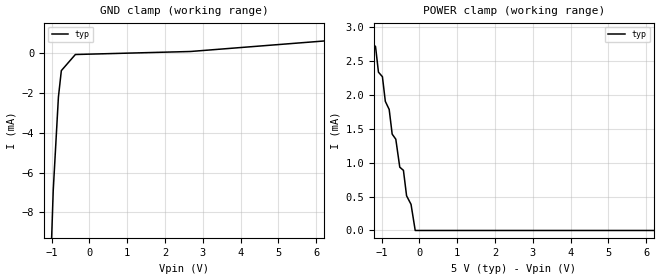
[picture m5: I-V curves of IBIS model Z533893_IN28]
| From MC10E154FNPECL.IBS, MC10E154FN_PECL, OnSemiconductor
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| (C) COPYRIGHT 1993-2000
| MENTOR GRAPHICS CORPORATION
| ICX STANDARD LIBRARY, ICX PROJECT MODELING,
| ICX CUSTOM MODELING, ICX VENDOR MODEL
| ALL RIGHTS RESERVED.
| THE FOLLOWING ARE TRADEMARKS OR SERVICE MARKS OF
| MENTOR GRAPHICS CORPORATION:ICX (R), ICX STANDARD
| LIBRARY(R), ICX PROJECT MODELING(R), ICX CUSTOM
| MODELING(R), qualityIBIS(TM), MODELVIEWER(TM),
| AND MODELEDITOR(TM)
| ALL COPIES OF SOFTWARE, INCLUDING BUT NOT LIMITED TO
| ANY MODIFICATIONS, ENHANCEMENTS OR DERIVATIVE WORKS,
| MUST CONTAIN ALL MENTOR GRAPHICS CORPORATION'S
| NOTICES AND LEGENDS, INCLUDING THOSE EMBEDDED IN
| SOFTWARE AND THOSE AFFIXED TO SOFTWARE MEDIUM
| AND CONTAINER, AS RECEIVED FROM MENTOR GRAPHICS
| CORPORATION.
| Model Application Version 1.89 2/18/99.
[Model] Z533893_IN28
Model_type Input_ECL
Vinl = 3.520V
Vinh = 3.870V
C_comp 4.000pF NA NA
| variable typ   min   max
[Voltage Range] 5.000V NA NA
[GND Clamp Reference] 0.000V NA NA
[POWER Clamp Reference] 5.000V NA NA
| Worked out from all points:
|   GND clamp passes 1 mA (typ) near -0.75 V on its own axis
|   POWER clamp passes 1 mA (typ) near -0.54 V on its own axis
[GND Clamp]
-5V       -303.7mA   NA         NA
-1.049V   -12.12mA   NA         NA
-956.2mV  -6.889mA   NA         NA
-819.4mV  -2.201mA   NA         NA
-742.1mV  -869.7uA   NA         NA
-371.1mV  -59.38uA   NA         NA
2.673V    92.72uA    NA         NA
10V       1.189mA    NA         NA
[POWER Clamp]
-5V       24.35mA    NA         NA
-1.361V   3.179mA    NA         NA
-1.16V    2.706mA    NA         NA
-1.083V   2.33mA     NA         NA
-978mV    2.263mA    NA         NA
-720mV    1.418mA    NA         NA
-519mV    931.5uA    NA         NA
-422mV    885uA      NA         NA
-339mV    510.4uA    NA         NA
-221mV    384.4uA    NA         NA
-110.5mV  0A         NA         NA
10V       0A         NA         NA
